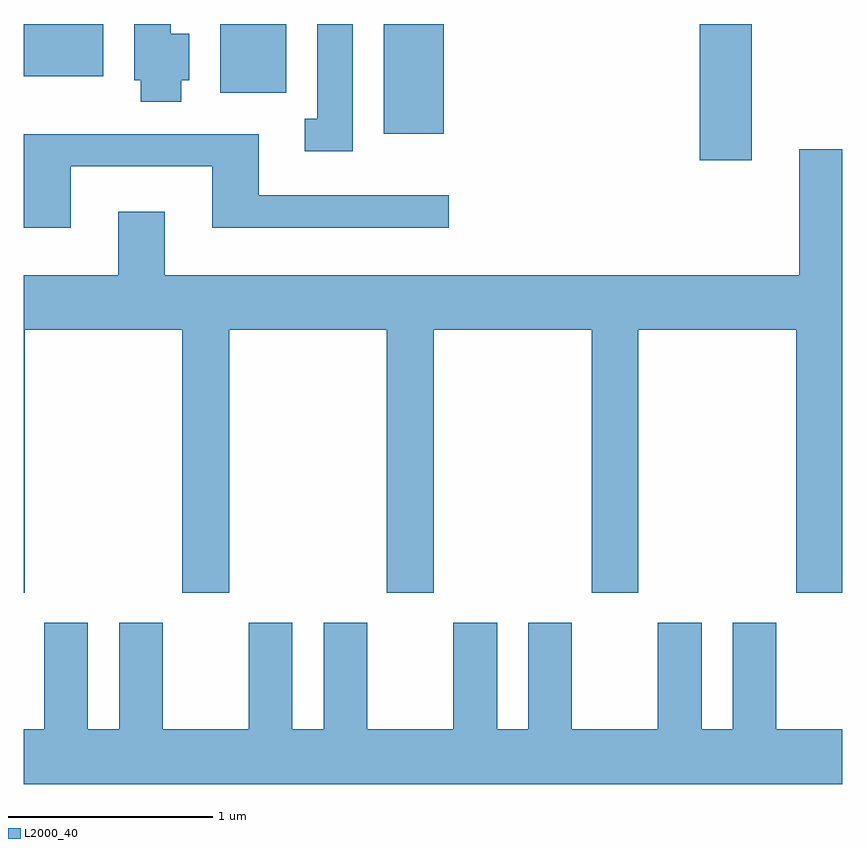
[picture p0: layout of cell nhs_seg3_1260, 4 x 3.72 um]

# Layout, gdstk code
import gdstk
lib = gdstk.Library(unit=1e-6, precision=1e-09)
def R(c, l, rs):  # rectangles x0, y0, x1, y1
    for r in rs: c.add(gdstk.rectangle(r[:2], r[2:], *l))
def P(c, l, *ps):  # polygons
    for p in ps: c.add(gdstk.Polygon(p, *l))
L2000_40 = (2000, 40)

nhs_seg3_1260 = lib.new_cell('nhs_seg3_1260')
R(nhs_seg3_1260, L2000_40, [(224.916,1191.226,225.169,1191.892), (223.371,1191.356,223.664,1191.892), (222.571,1191.556,222.894,1191.892), (221.611,1191.636,221.999,1191.892)])
P(nhs_seg3_1260, L2000_40, [(223.219,1191.892),(223.046,1191.892),(223.046,1191.429),(222.983,1191.429),(222.983,1191.271),(223.219,1191.271)],
  [(222.379,1191.616),(222.419,1191.616),(222.419,1191.844),(222.329,1191.844),(222.329,1191.892),(222.151,1191.892),(222.151,1191.616),(222.181,1191.616),(222.181,1191.511),(222.379,1191.511)],
  [(221.839,1191.196),(222.531,1191.196),(222.531,1190.896),(223.688,1190.896),(223.688,1191.054),(222.759,1191.054),(222.759,1191.354),(221.611,1191.354),(221.611,1190.896),(221.839,1190.896)],
  [(221.614,1190.396),(222.386,1190.396),(222.386,1189.111),(222.614,1189.111),(222.614,1190.396),(223.386,1190.396),(223.386,1189.111),(223.614,1189.111),(223.614,1190.396),(224.386,1190.396),(224.386,1189.111),(224.614,1189.111),(224.614,1190.396),(225.386,1190.396),(225.386,1189.111),(225.611,1189.111),(225.611,1191.279),(225.401,1191.279),(225.401,1190.664),(222.299,1190.664),(222.299,1190.974),(222.071,1190.974),(222.071,1190.664),(221.611,1190.664),(221.611,1189.111),(221.614,1189.111)],
  [(225.611,1188.444),(225.289,1188.444),(225.289,1188.964),(225.076,1188.964),(225.076,1188.444),(224.924,1188.444),(224.924,1188.964),(224.711,1188.964),(224.711,1188.444),(224.289,1188.444),(224.289,1188.964),(224.076,1188.964),(224.076,1188.444),(223.924,1188.444),(223.924,1188.964),(223.711,1188.964),(223.711,1188.444),(223.289,1188.444),(223.289,1188.964),(223.076,1188.964),(223.076,1188.444),(222.924,1188.444),(222.924,1188.964),(222.711,1188.964),(222.711,1188.444),(222.289,1188.444),(222.289,1188.964),(222.076,1188.964),(222.076,1188.444),(221.924,1188.444),(221.924,1188.964),(221.711,1188.964),(221.711,1188.444),(221.611,1188.444),(221.611,1188.176),(225.611,1188.176)])

lib.write_gds('nhs_seg3_1260.gds')
